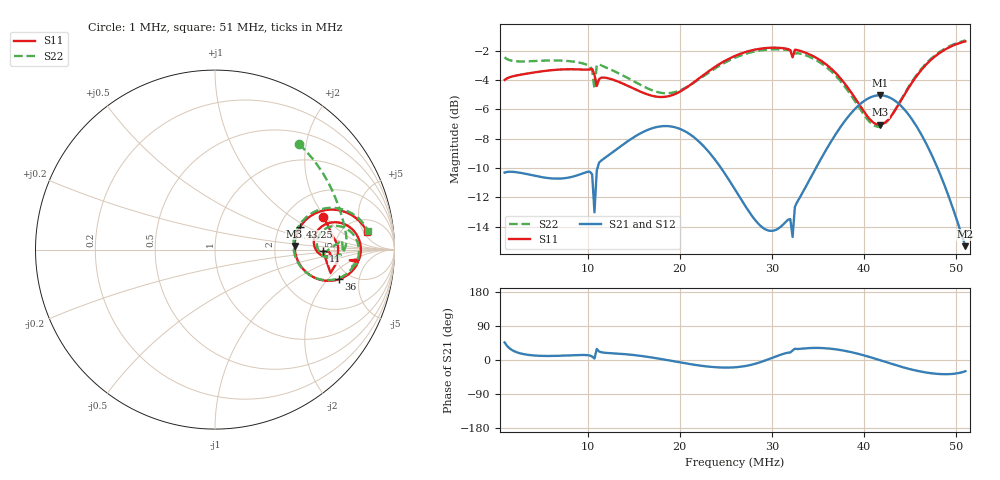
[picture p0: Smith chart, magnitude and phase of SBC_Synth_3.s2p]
# MHz S RI R 50
! S-Parameters data
! Freq  reS11  imS11  reS21  imS21  reS12  imS12  reS22  imS22
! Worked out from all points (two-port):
!   201 points, 1 MHz to 51 MHz, reference 50 ohm
!   highest |S21| = -5.04 dB at 41.75 MHz (marker M1); lowest = -15.3 dB at 51 MHz (marker M2)
!   |S21| within 3 dB of the highest: 14.67 MHz to 21.82 MHz (7.149 MHz wide, 39.2 % of centre); 36.57 MHz to 46.51 MHz (9.934 MHz wide, 23.9 % of centre)
!   lowest |S11| = -7.1 dB at 41.75 MHz (marker M3), VSWR 2.60, Z = 129 + j6.54 ohm
!   |S11| at or under -10 dB: nowhere
!   |S22| runs from -7.2 to -1.3 dB; largest |S21 - S12| = 0
!   S11 on the Smith chart (normalised r, x): 1 MHz: 3.17, +1.91; 11 MHz: 4.02, -0.10; 36 MHz: 4.00, -2.66; 43.25 MHz: 2.60, +0.86; 51 MHz: 8, +6
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1  0.6037 0.182  0.2102 0.2213  0.2102 0.2213  0.4686 0.5904
2  0.642 0.1048  0.281 0.1232  0.281 0.1232  0.6516 0.3325
3.25  0.6578 0.0716  0.2926 0.0765  0.2926 0.0765  0.7001 0.2059
9.5  0.6839 -0.0191  0.2954 0.0699  0.2954 0.0699  0.7181 -0.00616
10.5  0.6856 -0.0593  0.2972 0.048  0.2972 0.048  0.6801 -0.0473
10.75  0.6439 -0.1307  0.2231 0.0146  0.2231 0.0146  0.5869 -0.0339
11  0.6014 -0.00819  0.271 0.1506  0.271 0.1506  0.7066 0.0511
13.25  0.6228 -0.0375  0.3524 0.1068  0.3524 0.1068  0.6659 -0.0441
17.75  0.5515 0.0297  0.4369 0.027  0.4369 0.027  0.5722 0.00643
22.25  0.6272 0.1457  0.372 -0.0993  0.372 -0.0993  0.6274 0.1228
26  0.7513 0.1246  0.2524 -0.0881  0.2524 -0.0881  0.7428 0.1097
30.25  0.8125 -0.00049  0.1922 0.026  0.1922 0.026  0.8022 -0.00705
32.25  0.751 -0.0593  0.1667 0.0784  0.1667 0.0784  0.7646 -0.0988
32.5  0.7974 -0.0562  0.2027 0.1161  0.2027 0.1161  0.7717 -0.0713
34.5  0.7479 -0.1342  0.259 0.1608  0.259 0.1608  0.733 -0.1354
36  0.6884 -0.1658  0.3182 0.1888  0.3182 0.1888  0.6743 -0.1643
38.75  0.5431 -0.1506  0.4626 0.1684  0.4626 0.1684  0.531 -0.1436
41.75  0.4435 0.0203  0.5595 -0.00669  0.5595 -0.00669  0.437 0.032
42.75  0.4575 0.0932  0.5443 -0.0804  0.5443 -0.0804  0.4535 0.1055
43.25  0.4742 0.1263  0.5269 -0.1138  0.5269 -0.1138  0.4715 0.1386
46.5  0.662 0.2226  0.3362 -0.2102  0.3362 -0.2102  0.6652 0.2321
51  0.8479 0.0978  0.1491 -0.0847  0.1491 -0.0847  0.8536 0.1026
